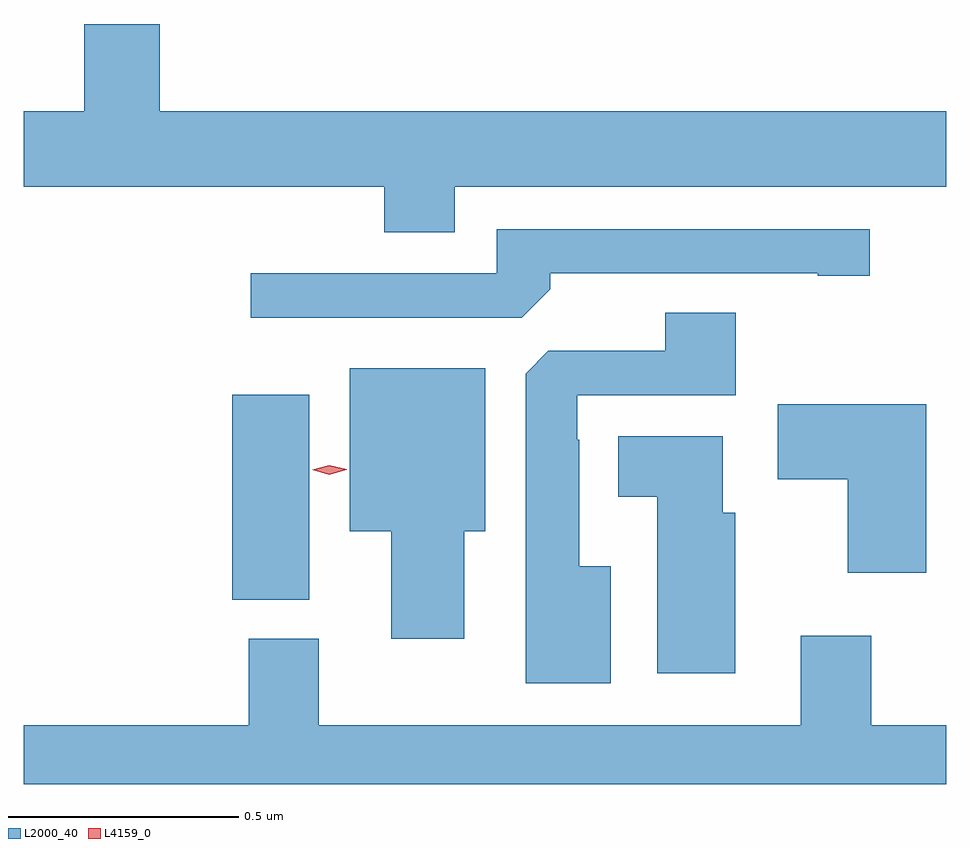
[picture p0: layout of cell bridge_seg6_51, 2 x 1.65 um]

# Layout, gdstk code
import gdstk
lib = gdstk.Library(unit=1e-6, precision=1e-09)
def R(c, l, rs):  # rectangles x0, y0, x1, y1
    for r in rs: c.add(gdstk.rectangle(r[:2], r[2:], *l))
def P(c, l, *ps):  # polygons
    for p in ps: c.add(gdstk.Polygon(p, *l))
L2000_40 = (2000, 40)
L4159_0 = (4159, 0)

bridge_seg6_51 = lib.new_cell('bridge_seg6_51')
R(bridge_seg6_51, L2000_40, [(1088.405,989.065,1088.572,989.509)])
P(bridge_seg6_51, L2000_40, [(1088.887,989.96),(1089.953,989.96),(1089.953,990.124),(1088.248,990.124),(1088.248,990.313),(1088.084,990.313),(1088.084,990.124),(1087.953,990.124),(1087.953,989.96),(1088.735,989.96),(1088.735,989.861),(1088.887,989.861)],
  [(1089.095,989.738),(1089.095,989.772),(1089.674,989.772),(1089.674,989.767),(1089.787,989.767),(1089.787,989.868),(1088.979,989.868),(1088.979,989.772),(1088.445,989.772),(1088.445,989.676),(1089.033,989.676)],
  [(1089.226,989.137),(1089.157,989.137),(1089.157,989.411),(1089.153,989.411),(1089.153,989.508),(1089.497,989.508),(1089.497,989.687),(1089.344,989.687),(1089.344,989.604),(1089.09,989.604),(1089.041,989.555),(1089.041,988.883),(1089.226,988.883)],
  [(1088.908,989.213),(1088.953,989.213),(1088.953,989.566),(1088.66,989.566),(1088.66,989.213),(1088.75,989.213),(1088.75,988.98),(1088.908,988.98)],
  [(1089.91,989.488),(1089.588,989.488),(1089.588,989.326),(1089.74,989.326),(1089.74,989.123),(1089.91,989.123)],
  [(1089.496,989.253),(1089.469,989.253),(1089.469,989.419),(1089.242,989.419),(1089.242,989.288),(1089.326,989.288),(1089.326,988.905),(1089.496,988.905)],
  [(1089.953,988.792),(1089.791,988.792),(1089.791,988.987),(1089.638,988.987),(1089.638,988.792),(1088.593,988.792),(1088.593,988.98),(1088.441,988.98),(1088.441,988.792),(1087.953,988.792),(1087.953,988.665),(1089.953,988.665)])
P(bridge_seg6_51, L4159_0, [(1088.615,989.336),(1088.578,989.346),(1088.577,989.346),(1088.578,989.346),(1088.615,989.356),(1088.653,989.347),(1088.653,989.346),(1088.653,989.346)])

lib.write_gds('bridge_seg6_51.gds')
